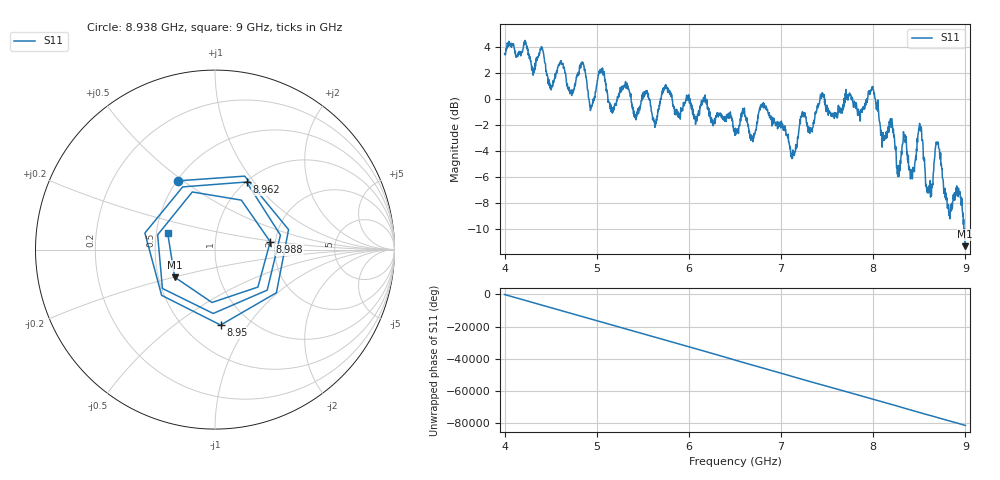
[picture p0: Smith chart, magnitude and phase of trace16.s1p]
! Created with skrf 1.8.0 (http://scikit-rf.org).
# Hz S RI R 50.0
!freq ReS11 ImS11
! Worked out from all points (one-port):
!   1601 points, 4 GHz to 9 GHz, reference 50 ohm
!   lowest |S11| = -11.3 dB at 8.997 GHz (marker M1), VSWR 1.75, Z = 30.4 - j10.1 ohm
!   |S11| at or under -10 dB: 8.98363 GHz to 8.990436 GHz (6.807 MHz wide, 0.0757 % of centre); 8.991166 GHz to end of sweep
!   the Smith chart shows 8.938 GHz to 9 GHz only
!   S11 on the Smith chart (normalised r, x): 8.938 GHz: 0.51, +0.48; 8.95 GHz: 0.74, -0.75; 8.962 GHz: 1.01, +0.92; 8.988 GHz: 1.88, +0.18; 9 GHz: 0.57, +0.11
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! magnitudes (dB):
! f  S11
! 4 GHz  3.5
! 4.625 GHz  2.8
! 4.725 GHz  0.6
! 4.853 GHz  2.7
! 4.934 GHz  -0.7
! 5.041 GHz  2.3
! 5.162 GHz  -0.9
! 5.25 GHz  0.7
! 5.875 GHz  -1.1
! 6.5 GHz  -2.8
! 6.803 GHz  -0.5
! 7.125 GHz  -4.5
! 7.238 GHz  -1.0
! 7.75 GHz  0.3
! 7.991 GHz  0.9
! 8.272 GHz  -5.1
! 8.375 GHz  -4.6
! 8.425 GHz  -6.1
! 8.509 GHz  -2.1
! 8.591 GHz  -7.0
! 8.694 GHz  -3.3
! 8.809 GHz  -8.4
! 8.938 GHz  -7.2
! 8.95 GHz  -7.5
! 8.962 GHz  -7.6
! 8.988 GHz  -10.2
! 8.997 GHz  -11.3
! 9 GHz  -11.1
